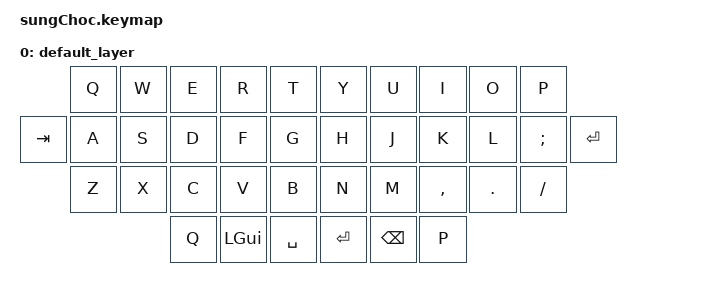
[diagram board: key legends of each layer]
// This file was generated from a template. Edit it to match your keyboard.
// See https://zmk.dev/docs/development/hardware-integration/new-shield for more instructions.

#include <behaviors.dtsi>
#include <dt-bindings/zmk/keys.h>

/ {
    // Define a default keymap here.
    // See https://zmk.dev/docs/development/hardware-integration/new-shield#default-keymap.
    keymap {
        compatible = "zmk,keymap";

        default_layer {
            bindings = <
                    &kp Q    &kp W    &kp E    &kp R    &kp T       &kp Y    &kp U    &kp I    &kp O    &kp P    
           &kp TAB  &kp A    &kp S    &kp D    &kp F    &kp G       &kp H    &kp J    &kp K    &kp L    &kp SEMI &kp ENTER
                    &kp Z    &kp X    &kp C    &kp V    &kp B       &kp N    &kp M    &kp COMMA &kp DOT &kp SLASH 
                                      &kp Q    &kp LGUI &kp SPACE   &kp ENTER  &kp BSPC &kp P        
            >;
        };
    };
};
